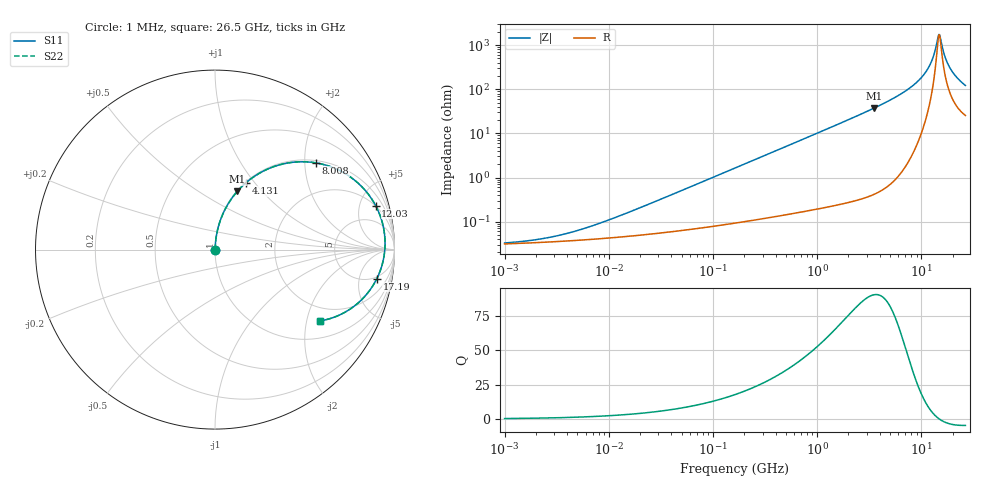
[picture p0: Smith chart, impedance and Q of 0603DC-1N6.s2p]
# MHz S MA R 50
!Freq  MagS11  AngS11  MagS21  AngS21  MagS12  AngS12  MagS22  AngS22
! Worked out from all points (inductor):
!   801 points, 1 MHz to 26.5 GHz, reference 50 ohm
!   read as one part in series: L = 1.6 nH near 13.6 MHz
!   highest Q = 90.2 at 3.5 GHz (marker M1), where L = 1.69 nH
!   self-resonance near 14.88 GHz
!   S11 on the Smith chart (normalised r, x): 1 MHz: 1.00, +0.00; 4.131 GHz: 1.01, +0.90; 8.008 GHz: 1.06, +2.27; 12.03 GHz: 1.95, +6.90; 17.19 GHz: 4, -9; 26.5 GHz: 1.51, -2.39
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1  0.0003277 17.9  0.9997 -0.0  0.9997 -0.0  0.0003277 17.9
2.438002  0.00042 35.7  0.9997 -0.0  0.9997 -0.0  0.00042 35.7
5.506729  0.0006724 55.4  0.9996 -0.0  0.9996 -0.0  0.0006724 55.4
29.94045  0.003057 79.6  0.9995 -0.2  0.9995 -0.2  0.003057 79.6
162.7882  0.01638 85.8  0.9989 -0.9  0.9989 -0.9  0.01638 85.8
896.4305  0.08994 83.7  0.9941 -5.2  0.9941 -5.2  0.08994 83.7
2050.715  0.2052 77.4  0.976 -11.8  0.976 -11.8  0.2052 77.4
3500.465  0.348 69.0  0.9337 -20.4  0.9337 -20.4  0.348 69.0
4130.508  0.4088 65.2  0.9081 -24.1  0.9081 -24.1  0.4088 65.2
4873.952  0.479 60.7  0.8721 -28.6  0.8721 -28.6  0.479 60.7
6207.737  0.5989 52.3  0.7917 -36.8  0.7917 -36.8  0.5989 52.3
8007.823  0.7408 40.7  0.6526 -47.8  0.6526 -47.8  0.7408 40.7
10199.21  0.8679 26.6  0.448 -60.0  0.448 -60.0  0.8679 26.6
12034.95  0.928 15.3  0.2664 -66.8  0.2664 -66.8  0.928 15.3
12990.28  0.9431 9.8  0.1758 -66.3  0.1758 -66.3  0.9431 9.8
14201.1  0.9487 3.4  0.07678 -46.4  0.07678 -46.4  0.9487 3.4
14753.98  0.9469 0.6  0.05403 -10.5  0.05403 -10.5  0.9469 0.6
15328.39  0.9427 -2.1  0.06786 31.4  0.06786 31.4  0.9427 -2.1
17189.29  0.9163 -10.1  0.1888 58.7  0.1888 58.7  0.9163 -10.1
18553.77  0.8888 -15.2  0.2729 58.6  0.2729 58.6  0.8888 -15.2
20543.04  0.843 -21.4  0.376 55.1  0.376 55.1  0.843 -21.4
26500  0.7057 -34.3  0.5766 43.6  0.5766 43.6  0.7057 -34.3
